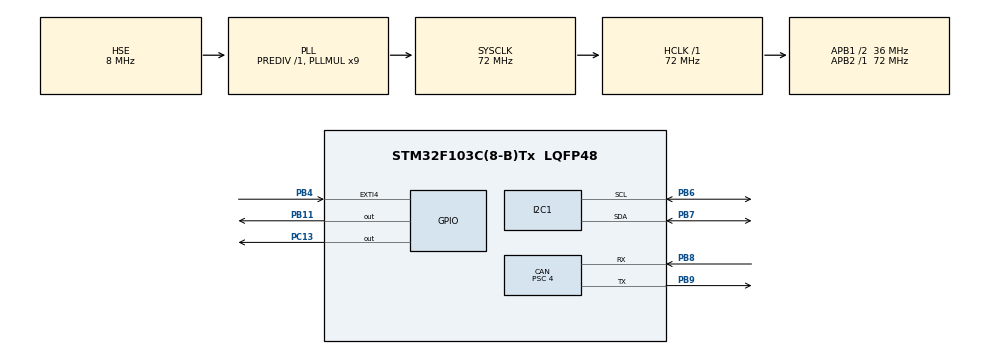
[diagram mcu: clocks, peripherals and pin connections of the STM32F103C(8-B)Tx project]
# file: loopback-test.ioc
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CAN.BS1=CAN_BS1_13TQ
CAN.BS2=CAN_BS2_4TQ
CAN.CalculateBaudRate=500000
CAN.CalculateTimeBit=2000
CAN.CalculateTimeQuantum=111.11111111111111
CAN.Mode=CAN_MODE_LOOPBACK
CAN.Prescaler=4
Mcu.Family=STM32F1
Mcu.Name=STM32F103C(8-B)Tx
Mcu.Package=LQFP48
NVIC.CAN1_RX1_IRQn=true\:0\:0\:false\:false\:true\:true\:true\:true
NVIC.EXTI4_IRQn=true\:0\:0\:false\:false\:true\:true\:true\:true
NVIC.PriorityGroup=NVIC_PRIORITYGROUP_4
PA13.Mode=Serial_Wire
PA13.Signal=SYS_JTMS-SWDIO
PA14.Mode=Serial_Wire
PA14.Signal=SYS_JTCK-SWCLK
PB11.Signal=GPIO_Output
PB4.Signal=GPXTI4
PB6.Mode=I2C
PB6.Signal=I2C1_SCL
PB7.Mode=I2C
PB7.Signal=I2C1_SDA
PB8.Mode=CAN_Activate
PB8.Signal=CAN_RX
PB9.Mode=CAN_Activate
PB9.Signal=CAN_TX
PC13-TAMPER-RTC.Signal=GPIO_Output
PD0-OSC_IN.Mode=HSE-External-Oscillator
PD0-OSC_IN.Signal=RCC_OSC_IN
PD1-OSC_OUT.Mode=HSE-External-Oscillator
PD1-OSC_OUT.Signal=RCC_OSC_OUT
ProjectManager.HeapSize=0x200
ProjectManager.StackSize=0x400
ProjectManager.TargetToolchain=STM32CubeIDE
RCC.AHBFreq_Value=72000000
RCC.APB1CLKDivider=RCC_HCLK_DIV2
RCC.APB1Freq_Value=36000000
RCC.APB1TimFreq_Value=72000000
RCC.APB2Freq_Value=72000000
RCC.APB2TimFreq_Value=72000000
RCC.HCLKFreq_Value=72000000
RCC.PLLMUL=RCC_PLL_MUL9
RCC.PLLSourceVirtual=RCC_PLLSOURCE_HSE
RCC.RTCClockSelection=RCC_RTCCLKSOURCE_LSE
RCC.SYSCLKFreq_VALUE=72000000
RCC.SYSCLKSource=RCC_SYSCLKSOURCE_PLLCLK
RCC.USBFreq_Value=72000000
board=custom

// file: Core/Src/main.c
/* USER CODE BEGIN Header */
/**
  ******************************************************************************
  * @file           : main.c
  * @brief          : ECU FRONT - ECU that integrates IMU data + optocoupler
  *                   to a baja-SAE vehicle CAN network.
  ******************************************************************************
  */
/* USER CODE END Header */
#include "main.h"
#include "can.h"
#include "i2c.h"
#include "gpio.h"
#include "kalman.h"
#include "lsm6ds3.h"

/* USER CODE BEGIN Includes */

#include <math.h> // Necessary for IMU calculations (atan2, sqrt)
                  //
/* USER CODE END Includes */

/* USER CODE BEGIN PV */
#ifndef M_PI
#define M_PI 3.14159265358979323846f
#endif
CAN_TxHeaderTypeDef TxHeader;
uint32_t TxMailbox;

// CAN Reception variables
CAN_RxHeaderTypeDef RxHeader;
uint8_t RxData[8];
uint16_t rpm_recebido = 0;

// Global optocoupler variables (Volatile because interruption changes it)
volatile uint32_t contador_pulsos = 0;
uint32_t ultimo_tempo_pulso = 0;

// LSM6DS3 IMU variables
LSM6DS3_Data_t imu_data;
Kalman_t KalmanRoll;
Kalman_t KalmanPitch;

/* USER CODE END PV */

void SystemClock_Config(void);

int main(void)
{
  /* MCU Configuration--------------------------------------------------------*/
  HAL_Init();

  /* Configure the system clock to 72 MHz (HSE 8MHz) */
  SystemClock_Config();

  /* Initialize all configured peripherals */
  MX_GPIO_Init();
  MX_CAN_Init(); // Lembre-se: CAN_MODE_NORMAL na bancada real!
  MX_I2C1_Init();

  /* USER CODE BEGIN 2 */

    // 1. Waits for the LSM6DS3 sensor to init properly
    // TODO: Test if this is really necessary
    HAL_Delay(1000);

    // 2. Inicialização do LSM6DS3
    if (LSM6DS3_Init(&hi2c1) != 1) {
        // Critical failure warning
    	for (int i = 0; i <= 6; i++){
            HAL_GPIO_TogglePin(GPIOC, GPIO_PIN_13);
            HAL_Delay(300);
        }
    } else {
        // Success on turning on I²C communications with the IMU
        for (int i = 0; i <= 10; i++){
            HAL_GPIO_TogglePin(GPIOC, GPIO_PIN_13);
            HAL_Delay(50);
        }
        // PC13 finishes start process turned off
        HAL_GPIO_WritePin(GPIOC, GPIO_PIN_13, GPIO_PIN_SET);
    }

    Kalman_Init(&KalmanRoll);
    Kalman_Init(&KalmanPitch);

    // Initializing CAN network
    CAN_FilterTypeDef canfilterconfig;

    // Initializes CAN to FIFO1 and without filters
    canfilterconfig.FilterActivation = CAN_FILTER_ENABLE;
    canfilterconfig.FilterBank = 0;
    canfilterconfig.FilterFIFOAssignment = CAN_FILTER_FIFO1;
    canfilterconfig.FilterIdHigh = 0x0000;
    canfilterconfig.FilterIdLow = 0x0000;
    canfilterconfig.FilterMaskIdHigh = 0x0000;
    canfilterconfig.FilterMaskIdLow = 0x0000;
    canfilterconfig.FilterMode = CAN_FILTERMODE_IDMASK;
    canfilterconfig.FilterScale = CAN_FILTERSCALE_32BIT;

    // Apply everything and starts CAN network
    HAL_CAN_ConfigFilter(&hcan, &canfilterconfig);
    HAL_CAN_ActivateNotification(&hcan, CAN_IT_RX_FIFO1_MSG_PENDING);
    HAL_CAN_Start(&hcan);

    uint32_t ultimo_tick = HAL_GetTick();

  /* USER CODE END 2 */

  /* Infinite loop */
  /* USER CODE BEGIN WHILE */
  while (1)
  {
	        // ====================================================================
	        // 1. Reading optocoupler and transforming result into RPM
	        // ====================================================================

            // TODO: Check for better way of calculating RPM
	        uint16_t rpm_real = contador_pulsos * 10 * 60;
	        contador_pulsos = 0;

	        TxHeader.StdId = 0x304;
	        TxHeader.ExtId = 0;
	        TxHeader.IDE = CAN_ID_STD;
	        TxHeader.RTR = CAN_RTR_DATA;
	        TxHeader.DLC = 2;
	        TxHeader.TransmitGlobalTime = DISABLE;

	        uint8_t dados_rpm[2];
	        dados_rpm[0] = rpm_real & 0xFF;
	        dados_rpm[1] = (rpm_real >> 8) & 0xFF;
	        HAL_CAN_AddTxMessage(&hcan, &TxHeader, dados_rpm, &TxMailbox);

            // Spacing for CAN bus: Waits some time in order not to overload CAN
            HAL_Delay(3);

            // ====================================================================
            // 2. IMU reading, Kalman filter application
            // ====================================================================
            if (LSM6DS3_Read(&hi2c1, &imu_data) == 1)
            {
                // 2.1 Calculates dt in seconds for kalman filter
                uint32_t tick_atual = HAL_GetTick();
                float dt = (float)(tick_atual - ultimo_tick) / 1000.0f;
                ultimo_tick = tick_atual;

                // Protection against double instant readings (if dt == 0)
                if (dt > 0.0f)
                {
                    // 2.2 Accelerometer: Calculates roll and pitch using gravity
                    float roll_acc = atan2f((float)imu_data.acc_y, (float)imu_data.acc_z) * 180.0f / M_PI;
                    float pitch_acc = atan2f((float)-imu_data.acc_x, sqrtf((float)imu_data.acc_y * imu_data.acc_y + (float)imu_data.acc_z * imu_data.acc_z)) * 180.0f / M_PI;

                    // 2.3 Gyroscope: Converts crude values into dps (degrees per second)
                    // Sensibility for +-250 dps (default) = 8.75 mdps/LSB -> 0.00875
                    float gyro_rate_x = (float)imu_data.gyr_x * 0.00875f;
                    float gyro_rate_y = (float)imu_data.gyr_y * 0.00875f;

                    // 2.4 Applying kalman filter
                    float roll_kalman = Kalman_getAngle(&KalmanRoll, roll_acc, gyro_rate_x, dt);
                    float pitch_kalman = Kalman_getAngle(&KalmanPitch, pitch_acc, gyro_rate_y, dt);

                    // 2.5 Assemble CAN package
                    int16_t roll_enviar = (int16_t)roll_kalman;
                    int16_t pitch_enviar = (int16_t)pitch_kalman;

                    CAN_TxHeaderTypeDef imuTxHeader;
                    imuTxHeader.StdId = 0x205;
                    imuTxHeader.ExtId = 0;
                    imuTxHeader.IDE = CAN_ID_STD;
                    imuTxHeader.RTR = CAN_RTR_DATA;
                    imuTxHeader.DLC = 4;
                    imuTxHeader.TransmitGlobalTime = DISABLE;

                    uint8_t dados_imu[4];
                    dados_imu[0] = roll_enviar & 0xFF;
                    dados_imu[1] = (roll_enviar >> 8) & 0xFF;
                    dados_imu[2] = pitch_enviar & 0xFF;
                    dados_imu[3] = (pitch_enviar >> 8) & 0xFF;

                    HAL_CAN_AddTxMessage(&hcan, &imuTxHeader, dados_imu, &TxMailbox);
                }

                // Toggle LED everytime the main loop is done
                HAL_GPIO_TogglePin(GPIOC, GPIO_PIN_13);
            }

            // Mantém a frequência em torno de 10 Hz
            HAL_Delay(95);

            /* USER CODE END WHILE */
  }
}

void SystemClock_Config(void)
{
    RCC_OscInitTypeDef RCC_OscInitStruct = {0};
    RCC_ClkInitTypeDef RCC_ClkInitStruct = {0};

    RCC_OscInitStruct.OscillatorType = RCC_OSCILLATORTYPE_HSE;
    RCC_OscInitStruct.HSEState = RCC_HSE_ON;
    RCC_OscInitStruct.HSEPredivValue = RCC_HSE_PREDIV_DIV1;
    RCC_OscInitStruct.HSIState = RCC_HSI_ON;
    RCC_OscInitStruct.PLL.PLLState = RCC_PLL_ON;
    RCC_OscInitStruct.PLL.PLLSource = RCC_PLLSOURCE_HSE;
    RCC_OscInitStruct.PLL.PLLMUL = RCC_PLL_MUL9;
    if (HAL_RCC_OscConfig(&RCC_OscInitStruct) != HAL_OK)
    {
        Error_Handler();
    }

    RCC_ClkInitStruct.ClockType = RCC_CLOCKTYPE_HCLK|RCC_CLOCKTYPE_SYSCLK
        |RCC_CLOCKTYPE_PCLK1|RCC_CLOCKTYPE_PCLK2;
    RCC_ClkInitStruct.SYSCLKSource = RCC_SYSCLKSOURCE_PLLCLK;
    RCC_ClkInitStruct.AHBCLKDivider = RCC_SYSCLK_DIV1;
    RCC_ClkInitStruct.APB1CLKDivider = RCC_HCLK_DIV2;
    RCC_ClkInitStruct.APB2CLKDivider = RCC_HCLK_DIV1;

    if (HAL_RCC_ClockConfig(&RCC_ClkInitStruct, FLASH_LATENCY_2) != HAL_OK)
    {
        Error_Handler();
    }
}

/* USER CODE BEGIN 4 */

//
// === 1. Optodecoupler callback (ext_interruption) ===
void HAL_GPIO_EXTI_Callback(uint16_t GPIO_Pin)
{
    if (GPIO_Pin == GPIO_PIN_4) // PB4 PIN
    {
        uint32_t tempo_atual = HAL_GetTick();

        // Ignores pulses that happen in less than 3ms (Max 20.000 RPM)
        if ((tempo_atual - ultimo_tempo_pulso) > 3)
        {
            contador_pulsos++;
            ultimo_tempo_pulso = tempo_atual;
        }
    }
}

// === 2. CAN RX CALLBACK FOR FLAGS ===
void HAL_CAN_RxFifo1MsgPendingCallback(CAN_HandleTypeDef *hcan)
{
    if (HAL_CAN_GetRxMessage(hcan, CAN_RX_FIFO1, &RxHeader, RxData) == HAL_OK)
    {
        /*
        // This is a flag reception example
        if (RxHeader.StdId == 0x304)
        {
            rpm_recebido = RxData[0] | (RxData[1] << 8);
            HAL_GPIO_TogglePin(GPIOC, GPIO_PIN_13);
        }
        */
    }
}
/* USER CODE END 4 */

void Error_Handler(void)
{
  __disable_irq();
  while (1)
  {
      HAL_GPIO_TogglePin(GPIOC, GPIO_PIN_13);
      for(volatile int i=0; i<100000; i++);
  }
}
